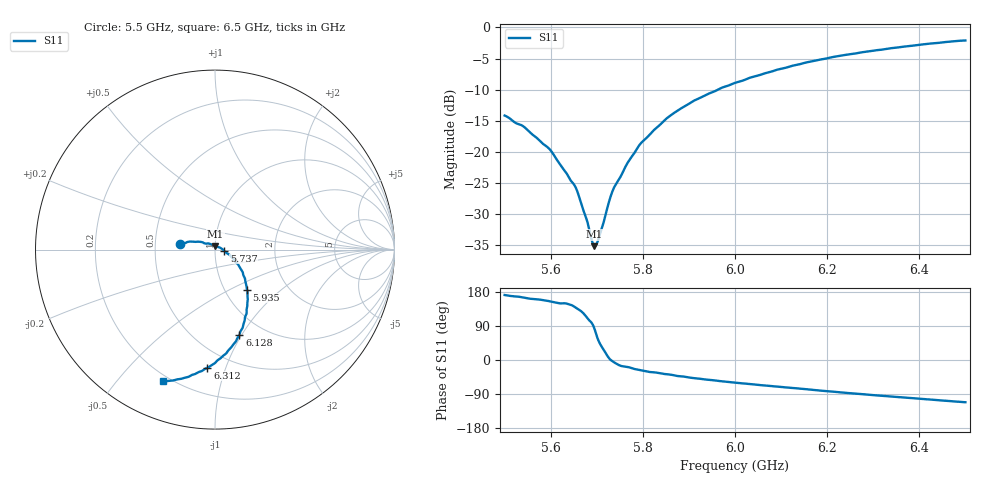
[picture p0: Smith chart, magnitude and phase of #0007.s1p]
#  HZ  S  DB  R  50.00
! Rohde & Schwarz ZVA24 4Ports - Version 3.60 - 1145.1110k28 SN: 101513
! Date: 2019-08-26 13:18:47
! Measurement: S33
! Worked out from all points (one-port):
!   801 points, 5.5 GHz to 6.5 GHz, reference 50 ohm
!   lowest |S11| = -35.2 dB at 5.695 GHz (marker M1), VSWR 1.04, Z = 50.2 + j1.74 ohm
!   |S11| at or under -10 dB: start of sweep to 5.963 GHz
!   S11 on the Smith chart (normalised r, x): 5.5 GHz: 0.67, +0.04; 5.737 GHz: 1.11, -0.01; 5.935 GHz: 1.27, -0.61; 6.128 GHz: 0.78, -0.98; 6.312 GHz: 0.37, -0.87; 6.5 GHz: 0.17, -0.67
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5.5e9  -14.16 171.5
5.54125e9  -15.93 164.7
5.59375e9  -19.29 155.9
5.625e9  -22.51 149.4
5.65125e9  -25.33 140.7
5.65625e9  -26.05 136.7
5.6775e9  -30.75 113.7
5.69e9  -34.42 96.0
5.695e9  -35.16 82.5
5.69875e9  -34.95 68.1
5.70375e9  -33.99 50.9
5.71375e9  -31.62 29.5
5.72875e9  -27.47 1.8
5.7375e9  -25.73 -6.0
5.75e9  -24.20 -14.4
5.7675e9  -21.70 -18.7
5.79625e9  -18.57 -27.2
5.84875e9  -14.80 -37.2
5.875e9  -13.39 -42.2
5.935e9  -10.90 -51.3
6e9  -8.90 -59.9
6.125e9  -6.15 -73.8
6.1275e9  -6.10 -74.0
6.25e9  -4.30 -87.6
6.3125e9  -3.62 -93.7
6.375e9  -3.03 -99.7
6.42375e9  -2.59 -104.4
6.5e9  -2.09 -111.5
